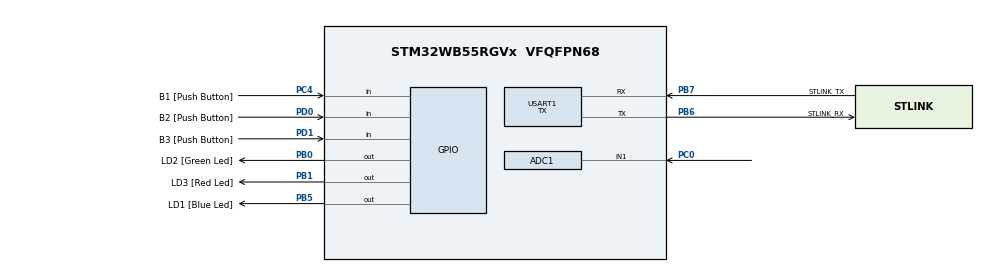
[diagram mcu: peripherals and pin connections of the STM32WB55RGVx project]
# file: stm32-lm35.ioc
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ADC1.Channel-0\#ChannelRegularConversion=ADC_CHANNEL_1
ADC1.Channel-1\#ChannelRegularConversion=ADC_CHANNEL_1
ADC1.Channel-2\#ChannelRegularConversion=ADC_CHANNEL_1
ADC1.Channel-3\#ChannelRegularConversion=ADC_CHANNEL_1
ADC1.Channel-4\#ChannelRegularConversion=ADC_CHANNEL_1
ADC1.Channel-5\#ChannelRegularConversion=ADC_CHANNEL_1
ADC1.Channel-6\#ChannelRegularConversion=ADC_CHANNEL_1
ADC1.Channel-7\#ChannelRegularConversion=ADC_CHANNEL_1
ADC1.Channel-8\#ChannelRegularConversion=ADC_CHANNEL_1
ADC1.Channel-9\#ChannelRegularConversion=ADC_CHANNEL_1
ADC1.ClockPrescaler=ADC_CLOCK_ASYNC_DIV8
ADC1.DMAContinuousRequests=ENABLE
ADC1.NbrOfConversion=10
ADC1.NbrOfConversionFlag=1
ADC1.OffsetNumber-0\#ChannelRegularConversion=ADC_OFFSET_NONE
ADC1.OffsetNumber-1\#ChannelRegularConversion=ADC_OFFSET_NONE
ADC1.OffsetNumber-2\#ChannelRegularConversion=ADC_OFFSET_NONE
ADC1.OffsetNumber-3\#ChannelRegularConversion=ADC_OFFSET_NONE
ADC1.OffsetNumber-4\#ChannelRegularConversion=ADC_OFFSET_NONE
ADC1.OffsetNumber-5\#ChannelRegularConversion=ADC_OFFSET_NONE
ADC1.OffsetNumber-6\#ChannelRegularConversion=ADC_OFFSET_NONE
ADC1.OffsetNumber-7\#ChannelRegularConversion=ADC_OFFSET_NONE
ADC1.OffsetNumber-8\#ChannelRegularConversion=ADC_OFFSET_NONE
ADC1.OffsetNumber-9\#ChannelRegularConversion=ADC_OFFSET_NONE
ADC1.Rank-0\#ChannelRegularConversion=1
ADC1.Rank-1\#ChannelRegularConversion=2
ADC1.Rank-2\#ChannelRegularConversion=3
ADC1.Rank-3\#ChannelRegularConversion=4
ADC1.Rank-4\#ChannelRegularConversion=5
ADC1.Rank-5\#ChannelRegularConversion=6
ADC1.Rank-6\#ChannelRegularConversion=7
ADC1.Rank-7\#ChannelRegularConversion=8
ADC1.Rank-8\#ChannelRegularConversion=9
ADC1.Rank-9\#ChannelRegularConversion=10
ADC1.SamplingTime-0\#ChannelRegularConversion=ADC_SAMPLETIME_640CYCLES_5
ADC1.SamplingTime-1\#ChannelRegularConversion=ADC_SAMPLETIME_640CYCLES_5
ADC1.SamplingTime-2\#ChannelRegularConversion=ADC_SAMPLETIME_640CYCLES_5
ADC1.SamplingTime-3\#ChannelRegularConversion=ADC_SAMPLETIME_640CYCLES_5
ADC1.SamplingTime-4\#ChannelRegularConversion=ADC_SAMPLETIME_640CYCLES_5
ADC1.SamplingTime-5\#ChannelRegularConversion=ADC_SAMPLETIME_640CYCLES_5
ADC1.SamplingTime-6\#ChannelRegularConversion=ADC_SAMPLETIME_640CYCLES_5
ADC1.SamplingTime-7\#ChannelRegularConversion=ADC_SAMPLETIME_640CYCLES_5
ADC1.SamplingTime-8\#ChannelRegularConversion=ADC_SAMPLETIME_640CYCLES_5
ADC1.SamplingTime-9\#ChannelRegularConversion=ADC_SAMPLETIME_640CYCLES_5
ADC1.master=1
Dma.ADC1.0.Direction=DMA_PERIPH_TO_MEMORY
Dma.ADC1.0.EventEnable=DISABLE
Dma.ADC1.0.Instance=DMA1_Channel1
Dma.ADC1.0.MemDataAlignment=DMA_MDATAALIGN_HALFWORD
Dma.ADC1.0.MemInc=DMA_MINC_ENABLE
Dma.ADC1.0.Mode=DMA_NORMAL
Dma.ADC1.0.PeriphDataAlignment=DMA_PDATAALIGN_HALFWORD
Dma.ADC1.0.PeriphInc=DMA_PINC_DISABLE
Dma.ADC1.0.Polarity=HAL_DMAMUX_REQ_GEN_RISING
Dma.ADC1.0.Priority=DMA_PRIORITY_LOW
Dma.ADC1.0.RequestNumber=1
Dma.ADC1.0.SignalID=NONE
Dma.ADC1.0.SyncEnable=DISABLE
Dma.ADC1.0.SyncPolarity=HAL_DMAMUX_SYNC_NO_EVENT
Dma.ADC1.0.SyncRequestNumber=1
Dma.ADC1.0.SyncSignalID=NONE
Dma.Request0=ADC1
Dma.Request1=USART1_TX
Dma.USART1_TX.1.Direction=DMA_MEMORY_TO_PERIPH
Dma.USART1_TX.1.EventEnable=DISABLE
Dma.USART1_TX.1.Instance=DMA1_Channel2
Dma.USART1_TX.1.MemDataAlignment=DMA_MDATAALIGN_BYTE
Dma.USART1_TX.1.MemInc=DMA_MINC_ENABLE
Dma.USART1_TX.1.Mode=DMA_NORMAL
Dma.USART1_TX.1.PeriphDataAlignment=DMA_PDATAALIGN_BYTE
Dma.USART1_TX.1.PeriphInc=DMA_PINC_DISABLE
Dma.USART1_TX.1.Polarity=HAL_DMAMUX_REQ_GEN_RISING
Dma.USART1_TX.1.Priority=DMA_PRIORITY_LOW
Dma.USART1_TX.1.RequestNumber=1
Dma.USART1_TX.1.SignalID=NONE
Dma.USART1_TX.1.SyncEnable=DISABLE
Dma.USART1_TX.1.SyncPolarity=HAL_DMAMUX_SYNC_NO_EVENT
Dma.USART1_TX.1.SyncRequestNumber=1
Dma.USART1_TX.1.SyncSignalID=NONE
FREERTOS.Queues01=tempQueue,16,float32_t,0,Static,tempQueueBuffer,tempQueueControlBlock
FREERTOS.Tasks01=defaultTask,24,128,StartDefaultTask,Default,NULL,Static,defaultTaskBuffer,defaultTaskControlBlock;printTempTask,8,256,StartPrintfTask,Default,NULL,Static,printTempTaskBuffer,printTempTaskControlBlock
Mcu.Family=STM32WB
Mcu.Name=STM32WB55RGVx
Mcu.Package=VFQFPN68
NVIC.DMA1_Channel1_IRQn=true\:5\:0\:false\:false\:true\:true\:false\:true
NVIC.DMA1_Channel2_IRQn=true\:5\:0\:false\:false\:true\:true\:false\:true
NVIC.PriorityGroup=NVIC_PRIORITYGROUP_4
NVIC.TIM1_UP_TIM16_IRQn=true\:0\:0\:false\:false\:true\:false\:false\:true
NVIC.TimeBase=TIM1_UP_TIM16_IRQn
NVIC.TimeBaseIP=TIM1
OSC_IN.Mode=HSE-External-Oscillator
OSC_IN.Signal=RCC_OSC_IN
OSC_OUT.Mode=HSE-External-Oscillator
OSC_OUT.Signal=RCC_OSC_OUT
PA11.Signal=USB_DM
PA12.Signal=USB_DP
PA13.GPIO_Label=JTMS
PA13.Signal=SYS_JTMS-SWDIO
PA14.GPIO_Label=JTCK
PA14.Signal=SYS_JTCK-SWCLK
PB0.GPIO_Label=LD2 [Green Led]
PB0.Signal=GPIO_Output
PB1.GPIO_Label=LD3 [Red Led]
PB1.Signal=GPIO_Output
PB3.GPIO_Label=JTDO
PB3.Signal=SYS_JTDO-SWO
PB5.GPIO_Label=LD1 [Blue Led]
PB5.Signal=GPIO_Output
PB6.GPIO_Label=STLINK_RX
PB6.Mode=Asynchronous
PB6.Signal=USART1_TX
PB7.GPIO_Label=STLINK_TX
PB7.Mode=Asynchronous
PB7.Signal=USART1_RX
PC0.Signal=ADCx_IN1
PC13.Signal=SYS_WKUP2
PC14-OSC32_IN.Signal=RCC_OSC32_IN
PC15-OSC32_OUT.Signal=RCC_OSC32_OUT
PC4.GPIO_Label=B1 [Push Button]
PC4.Signal=GPIO_Input
PD0.GPIO_Label=B2 [Push Button]
PD0.Signal=GPIO_Input
PD1.GPIO_Label=B3 [Push Button]
PD1.Signal=GPIO_Input
ProjectManager.HeapSize=0x400
ProjectManager.StackSize=0x1000
ProjectManager.TargetToolchain=Makefile
RCC.ADCFreq_Value=48000000
RCC.AHB2CLKDivider=RCC_SYSCLK_DIV2
RCC.AHBFreq_Value=32000000
RCC.APB1Freq_Value=32000000
RCC.APB1TimFreq_Value=32000000
RCC.APB2Freq_Value=32000000
RCC.APB2TimFreq_Value=32000000
RCC.APB3Freq_Value=16000000
RCC.CortexFreq_Value=32000000
RCC.HCLKFreq_Value=32000000
RCC.HSE_VALUE=32000000
RCC.HSI48_VALUE=48000000
RCC.HSI_VALUE=16000000
RCC.LSE_VALUE=32768
RCC.MSIClockRange=RCC_MSIRANGE_10
RCC.PLLM=RCC_PLLM_DIV2
RCC.PLLSAI1N=6
RCC.SMPSCLockSelectionVirtual=RCC_SMPSCLKSOURCE_HSI
RCC.SYSCLKFreq_VALUE=32000000
RCC.USBFreq_Value=48000000
RCC.VCOOutputFreq_Value=128000000
SH.ADCx_IN1.0=ADC1_IN1,IN1-Single-Ended
USART1.Mode=MODE_TX
USART1.VirtualMode-Asynchronous=VM_ASYNC
USART1.WordLength=WORDLENGTH_8B
VP_FREERTOS_VS_CMSIS_V2.Mode=CMSIS_V2
VP_SYS_VS_tim1.Mode=TIM1
board=P-NUCLEO-WB55-Nucleo

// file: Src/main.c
/* USER CODE BEGIN Header */
/**
  ******************************************************************************
  * @file           : main.c
  * @brief          : Main program body
  ******************************************************************************
  * @attention
  *
  * <h2><center>&copy; Copyright (c) 2019 STMicroelectronics.
  * All rights reserved.</center></h2>
  *
  * This software component is licensed by ST under BSD 3-Clause license,
  * the "License"; You may not use this file except in compliance with the
  * License. You may obtain a copy of the License at:
  *                        opensource.org/licenses/BSD-3-Clause
  *
  ******************************************************************************
  */
/* USER CODE END Header */

#include "main.h"
#include "cmsis_os.h"

/* USER CODE BEGIN Includes */
#include "arm_math.h"
/* USER CODE END Includes */

/* USER CODE BEGIN PD */
/* CAUTION!!! This circuit uses LM358 op amp in non inverting configuration
 * to scale the 0-1 V output of LM35 to about 3.3 V range
 */
#define OP_AMP_GAIN ((float32_t) 1)

/* Size of ADC buffer */
#define ADC_BUFFERSIZE ((uint32_t) 10)

#define ADC_COMPLETE_FLAG   ((uint32_t) 1)
/* USER CODE END PD */

/* USER CODE BEGIN PM */
/**
  * @brief  Macro to calculate the voltage (unit: mVolt)
  *         corresponding to a ADC conversion data (unit: digital value).
  * @note   ADC measurement data must correspond to a resolution of 12bits
  *         (full scale digital value 4095). If not the case, the data must be
  *         preliminarily rescaled to an equivalent resolution of 12 bits.
  * @note   Analog reference voltage (Vref+) must be known from
  *         user board environment.
  * @param  __VREFANALOG_VOLTAGE__ Analog reference voltage (unit: mV)
  * @param  __ADC_DATA__ ADC conversion data (resolution 12 bits)
  *                       (unit: digital value).
  * @retval ADC conversion data equivalent voltage value (unit: mVolt)
  */
#define __ADC_CALC_DATA_VOLTAGE(__VREFANALOG_VOLTAGE__, __ADC_DATA__)       \
   (__ADC_DATA__) * (__VREFANALOG_VOLTAGE__) / DIGITAL_SCALE_12BITS

/* Calculate temperature corresponding to ADC voltage in mV */
/* @retval Temperature in Degrees C*/
#define __LM35_CALC_TEMP(__VOLTAGE__) \
     (( __VOLTAGE__ ) / (10 * (OP_AMP_GAIN)))

/* USER CODE END PM */

ADC_HandleTypeDef hadc1;
DMA_HandleTypeDef hdma_adc1;

UART_HandleTypeDef huart1;
DMA_HandleTypeDef hdma_usart1_tx;

typedef StaticTask_t osStaticThreadDef_t;
typedef StaticQueue_t osStaticMessageQDef_t;
osThreadId_t defaultTaskHandle;
uint32_t defaultTaskBuffer[ 128 ];
osStaticThreadDef_t defaultTaskControlBlock;
osThreadId_t printTempTaskHandle;
uint32_t printTempTaskBuffer[ 256 ];
osStaticThreadDef_t printTempTaskControlBlock;
osMessageQueueId_t tempQueueHandle;
uint8_t tempQueueBuffer[ 16 * sizeof( float32_t ) ];
osStaticMessageQDef_t tempQueueControlBlock;
/* USER CODE BEGIN PV */
osEventFlagsId_t event_id;                      /* Event flags id */
/* Variables for ADC conversion data */
__IO uint16_t uhADCxConvertedData[ADC_BUFFERSIZE];

/* USER CODE END PV */

void SystemClock_Config(void);
static void MX_GPIO_Init(void);
static void MX_DMA_Init(void);
static void MX_ADC1_Init(void);
static void MX_USART1_UART_Init(void);
void StartDefaultTask(void *argument);
void StartPrintfTask(void *argument);

int main(void)
{

  /* MCU Configuration--------------------------------------------------------*/

  /* Reset of all peripherals, Initializes the Flash interface and the Systick. */
  HAL_Init();

  /* Configure the system clock */
  SystemClock_Config();

  /* Initialize all configured peripherals */
  MX_GPIO_Init();
  MX_DMA_Init();
  MX_ADC1_Init();
  MX_USART1_UART_Init();

  osKernelInitialize();

  /* Create the queue(s) */
  /* definition and creation of tempQueue */
  const osMessageQueueAttr_t tempQueue_attributes = {
    .name = "tempQueue",
    .cb_mem = &tempQueueControlBlock,
    .cb_size = sizeof(tempQueueControlBlock),
    .mq_mem = &tempQueueBuffer,
    .mq_size = sizeof(tempQueueBuffer)
  };
  tempQueueHandle = osMessageQueueNew (16, sizeof(float32_t), &tempQueue_attributes);

  /* Create the thread(s) */
  /* definition and creation of defaultTask */
  const osThreadAttr_t defaultTask_attributes = {
    .name = "defaultTask",
    .stack_mem = &defaultTaskBuffer[0],
    .stack_size = sizeof(defaultTaskBuffer),
    .cb_mem = &defaultTaskControlBlock,
    .cb_size = sizeof(defaultTaskControlBlock),
    .priority = (osPriority_t) osPriorityNormal,
  };
  defaultTaskHandle = osThreadNew(StartDefaultTask, NULL, &defaultTask_attributes);

  /* definition and creation of printTempTask */
  const osThreadAttr_t printTempTask_attributes = {
    .name = "printTempTask",
    .stack_mem = &printTempTaskBuffer[0],
    .stack_size = sizeof(printTempTaskBuffer),
    .cb_mem = &printTempTaskControlBlock,
    .cb_size = sizeof(printTempTaskControlBlock),
    .priority = (osPriority_t) osPriorityLow,
  };
  printTempTaskHandle = osThreadNew(StartPrintfTask, NULL, &printTempTask_attributes);

  /* USER CODE BEGIN RTOS_THREADS */
  /* Not a thread but placed here so Cube MX does not delete it */
  event_id = osEventFlagsNew(NULL);
  /* USER CODE END RTOS_THREADS */

  /* Start scheduler */
  osKernelStart();

  /* We should never get here as control is now taken by the scheduler */

  /* Infinite loop */
  while (1)
  {

  }
}

void SystemClock_Config(void)
{
  RCC_OscInitTypeDef RCC_OscInitStruct = {0};
  RCC_ClkInitTypeDef RCC_ClkInitStruct = {0};
  RCC_PeriphCLKInitTypeDef PeriphClkInitStruct = {0};

  /** Macro to configure the PLL multiplication factor
  */
  __HAL_RCC_PLL_PLLM_CONFIG(RCC_PLLM_DIV2);
  /** Macro to configure the PLL clock source
  */
  __HAL_RCC_PLL_PLLSOURCE_CONFIG(RCC_PLLSOURCE_MSI);
  /** Configure the main internal regulator output voltage
  */
  __HAL_PWR_VOLTAGESCALING_CONFIG(PWR_REGULATOR_VOLTAGE_SCALE1);
  /** Initializes the CPU, AHB and APB busses clocks
  */
  RCC_OscInitStruct.OscillatorType = RCC_OSCILLATORTYPE_HSI|RCC_OSCILLATORTYPE_HSE
                              |RCC_OSCILLATORTYPE_MSI;
  RCC_OscInitStruct.HSEState = RCC_HSE_ON;
  RCC_OscInitStruct.HSIState = RCC_HSI_ON;
  RCC_OscInitStruct.MSIState = RCC_MSI_ON;
  RCC_OscInitStruct.HSICalibrationValue = RCC_HSICALIBRATION_DEFAULT;
  RCC_OscInitStruct.MSICalibrationValue = RCC_MSICALIBRATION_DEFAULT;
  RCC_OscInitStruct.MSIClockRange = RCC_MSIRANGE_10;
  RCC_OscInitStruct.PLL.PLLState = RCC_PLL_NONE;
  if (HAL_RCC_OscConfig(&RCC_OscInitStruct) != HAL_OK)
  {
    Error_Handler();
  }
  /** Configure the SYSCLKSource, HCLK, PCLK1 and PCLK2 clocks dividers
  */
  RCC_ClkInitStruct.ClockType = RCC_CLOCKTYPE_HCLK4|RCC_CLOCKTYPE_HCLK2
                              |RCC_CLOCKTYPE_HCLK|RCC_CLOCKTYPE_SYSCLK
                              |RCC_CLOCKTYPE_PCLK1|RCC_CLOCKTYPE_PCLK2;
  RCC_ClkInitStruct.SYSCLKSource = RCC_SYSCLKSOURCE_MSI;
  RCC_ClkInitStruct.AHBCLKDivider = RCC_SYSCLK_DIV1;
  RCC_ClkInitStruct.APB1CLKDivider = RCC_HCLK_DIV1;
  RCC_ClkInitStruct.APB2CLKDivider = RCC_HCLK_DIV1;
  RCC_ClkInitStruct.AHBCLK2Divider = RCC_SYSCLK_DIV2;
  RCC_ClkInitStruct.AHBCLK4Divider = RCC_SYSCLK_DIV1;

  if (HAL_RCC_ClockConfig(&RCC_ClkInitStruct, FLASH_LATENCY_1) != HAL_OK)
  {
    Error_Handler();
  }
  /** Initializes the peripherals clocks
  */
  PeriphClkInitStruct.PeriphClockSelection = RCC_PERIPHCLK_SMPS|RCC_PERIPHCLK_USART1
                              |RCC_PERIPHCLK_ADC;
  PeriphClkInitStruct.PLLSAI1.PLLN = 6;
  PeriphClkInitStruct.PLLSAI1.PLLP = RCC_PLLP_DIV2;
  PeriphClkInitStruct.PLLSAI1.PLLQ = RCC_PLLQ_DIV2;
  PeriphClkInitStruct.PLLSAI1.PLLR = RCC_PLLR_DIV2;
  PeriphClkInitStruct.PLLSAI1.PLLSAI1ClockOut = RCC_PLLSAI1_ADCCLK;
  PeriphClkInitStruct.Usart1ClockSelection = RCC_USART1CLKSOURCE_PCLK2;
  PeriphClkInitStruct.AdcClockSelection = RCC_ADCCLKSOURCE_PLLSAI1;
  PeriphClkInitStruct.SmpsClockSelection = RCC_SMPSCLKSOURCE_HSI;
  PeriphClkInitStruct.SmpsDivSelection = RCC_SMPSCLKDIV_RANGE1;

  if (HAL_RCCEx_PeriphCLKConfig(&PeriphClkInitStruct) != HAL_OK)
  {
    Error_Handler();
  }
}

static void MX_ADC1_Init(void)
{

  ADC_ChannelConfTypeDef sConfig = {0};

  /** Common config
  */
  hadc1.Instance = ADC1;
  hadc1.Init.ClockPrescaler = ADC_CLOCK_ASYNC_DIV8;
  hadc1.Init.Resolution = ADC_RESOLUTION_12B;
  hadc1.Init.DataAlign = ADC_DATAALIGN_RIGHT;
  hadc1.Init.ScanConvMode = ADC_SCAN_ENABLE;
  hadc1.Init.EOCSelection = ADC_EOC_SINGLE_CONV;
  hadc1.Init.LowPowerAutoWait = DISABLE;
  hadc1.Init.ContinuousConvMode = DISABLE;
  hadc1.Init.NbrOfConversion = 10;
  hadc1.Init.DiscontinuousConvMode = DISABLE;
  hadc1.Init.ExternalTrigConv = ADC_SOFTWARE_START;
  hadc1.Init.ExternalTrigConvEdge = ADC_EXTERNALTRIGCONVEDGE_NONE;
  hadc1.Init.DMAContinuousRequests = ENABLE;
  hadc1.Init.Overrun = ADC_OVR_DATA_PRESERVED;
  hadc1.Init.OversamplingMode = DISABLE;
  if (HAL_ADC_Init(&hadc1) != HAL_OK)
  {
    Error_Handler();
  }
  /** Configure Regular Channel
  */
  sConfig.Channel = ADC_CHANNEL_1;
  sConfig.Rank = ADC_REGULAR_RANK_1;
  sConfig.SamplingTime = ADC_SAMPLETIME_640CYCLES_5;
  sConfig.SingleDiff = ADC_SINGLE_ENDED;
  sConfig.OffsetNumber = ADC_OFFSET_NONE;
  sConfig.Offset = 0;
  if (HAL_ADC_ConfigChannel(&hadc1, &sConfig) != HAL_OK)
  {
    Error_Handler();
  }
  /** Configure Regular Channel
  */
  sConfig.Rank = ADC_REGULAR_RANK_2;
  if (HAL_ADC_ConfigChannel(&hadc1, &sConfig) != HAL_OK)
  {
    Error_Handler();
  }
  /** Configure Regular Channel
  */
  sConfig.Rank = ADC_REGULAR_RANK_3;
  if (HAL_ADC_ConfigChannel(&hadc1, &sConfig) != HAL_OK)
  {
    Error_Handler();
  }
  /** Configure Regular Channel
  */
  sConfig.Rank = ADC_REGULAR_RANK_4;
  if (HAL_ADC_ConfigChannel(&hadc1, &sConfig) != HAL_OK)
  {
    Error_Handler();
  }
  /** Configure Regular Channel
  */
  sConfig.Rank = ADC_REGULAR_RANK_5;
  if (HAL_ADC_ConfigChannel(&hadc1, &sConfig) != HAL_OK)
  {
    Error_Handler();
  }
  /** Configure Regular Channel
  */
  sConfig.Rank = ADC_REGULAR_RANK_6;
  if (HAL_ADC_ConfigChannel(&hadc1, &sConfig) != HAL_OK)
  {
    Error_Handler();
  }
  /** Configure Regular Channel
  */
  sConfig.Rank = ADC_REGULAR_RANK_7;
  if (HAL_ADC_ConfigChannel(&hadc1, &sConfig) != HAL_OK)
  {
    Error_Handler();
  }
  /** Configure Regular Channel
  */
  sConfig.Rank = ADC_REGULAR_RANK_8;
  if (HAL_ADC_ConfigChannel(&hadc1, &sConfig) != HAL_OK)
  {
    Error_Handler();
  }
  /** Configure Regular Channel
  */
  sConfig.Rank = ADC_REGULAR_RANK_9;
  if (HAL_ADC_ConfigChannel(&hadc1, &sConfig) != HAL_OK)
  {
    Error_Handler();
  }
  /** Configure Regular Channel
  */
  sConfig.Rank = ADC_REGULAR_RANK_10;
  if (HAL_ADC_ConfigChannel(&hadc1, &sConfig) != HAL_OK)
  {
    Error_Handler();
  }
  /* USER CODE BEGIN ADC1_Init 2 */
  /* Run the ADC calibration in single-ended mode */
  if (HAL_ADCEx_Calibration_Start(&hadc1, ADC_SINGLE_ENDED) != HAL_OK)
  {
    /* Calibration Error */
    Error_Handler();
  }
  /* USER CODE END ADC1_Init 2 */

}

static void MX_USART1_UART_Init(void)
{

  huart1.Instance = USART1;
  huart1.Init.BaudRate = 115200;
  huart1.Init.WordLength = UART_WORDLENGTH_8B;
  huart1.Init.StopBits = UART_STOPBITS_1;
  huart1.Init.Parity = UART_PARITY_NONE;
  huart1.Init.Mode = UART_MODE_TX;
  huart1.Init.HwFlowCtl = UART_HWCONTROL_NONE;
  huart1.Init.OverSampling = UART_OVERSAMPLING_16;
  huart1.Init.OneBitSampling = UART_ONE_BIT_SAMPLE_DISABLE;
  huart1.Init.ClockPrescaler = UART_PRESCALER_DIV1;
  huart1.AdvancedInit.AdvFeatureInit = UART_ADVFEATURE_NO_INIT;
  if (HAL_UART_Init(&huart1) != HAL_OK)
  {
    Error_Handler();
  }
  if (HAL_UARTEx_SetTxFifoThreshold(&huart1, UART_TXFIFO_THRESHOLD_1_8) != HAL_OK)
  {
    Error_Handler();
  }
  if (HAL_UARTEx_SetRxFifoThreshold(&huart1, UART_RXFIFO_THRESHOLD_1_8) != HAL_OK)
  {
    Error_Handler();
  }
  if (HAL_UARTEx_DisableFifoMode(&huart1) != HAL_OK)
  {
    Error_Handler();
  }

}

static void MX_DMA_Init(void)
{

  /* DMA controller clock enable */
  __HAL_RCC_DMAMUX1_CLK_ENABLE();
  __HAL_RCC_DMA1_CLK_ENABLE();

  /* DMA interrupt init */
  /* DMA1_Channel1_IRQn interrupt configuration */
  HAL_NVIC_SetPriority(DMA1_Channel1_IRQn, 5, 0);
  HAL_NVIC_EnableIRQ(DMA1_Channel1_IRQn);
  /* DMA1_Channel2_IRQn interrupt configuration */
  HAL_NVIC_SetPriority(DMA1_Channel2_IRQn, 5, 0);
  HAL_NVIC_EnableIRQ(DMA1_Channel2_IRQn);

}

static void MX_GPIO_Init(void)
{
  GPIO_InitTypeDef GPIO_InitStruct = {0};

  /* GPIO Ports Clock Enable */
  __HAL_RCC_GPIOC_CLK_ENABLE();
  __HAL_RCC_GPIOB_CLK_ENABLE();
  __HAL_RCC_GPIOA_CLK_ENABLE();
  __HAL_RCC_GPIOD_CLK_ENABLE();

  /*Configure GPIO pin Output Level */
  HAL_GPIO_WritePin(GPIOB, LD2_Pin|LD3_Pin|LD1_Pin, GPIO_PIN_RESET);

  /*Configure GPIO pin : B1_Pin */
  GPIO_InitStruct.Pin = B1_Pin;
  GPIO_InitStruct.Mode = GPIO_MODE_INPUT;
  GPIO_InitStruct.Pull = GPIO_NOPULL;
  HAL_GPIO_Init(B1_GPIO_Port, &GPIO_InitStruct);

  /*Configure GPIO pins : LD2_Pin LD3_Pin LD1_Pin */
  GPIO_InitStruct.Pin = LD2_Pin|LD3_Pin|LD1_Pin;
  GPIO_InitStruct.Mode = GPIO_MODE_OUTPUT_PP;
  GPIO_InitStruct.Pull = GPIO_NOPULL;
  GPIO_InitStruct.Speed = GPIO_SPEED_FREQ_LOW;
  HAL_GPIO_Init(GPIOB, &GPIO_InitStruct);

  /*Configure GPIO pins : PA11 PA12 */
  GPIO_InitStruct.Pin = GPIO_PIN_11|GPIO_PIN_12;
  GPIO_InitStruct.Mode = GPIO_MODE_AF_PP;
  GPIO_InitStruct.Pull = GPIO_NOPULL;
  GPIO_InitStruct.Speed = GPIO_SPEED_FREQ_LOW;
  GPIO_InitStruct.Alternate = GPIO_AF10_USB;
  HAL_GPIO_Init(GPIOA, &GPIO_InitStruct);

  /*Configure GPIO pins : B2_Pin B3_Pin */
  GPIO_InitStruct.Pin = B2_Pin|B3_Pin;
  GPIO_InitStruct.Mode = GPIO_MODE_INPUT;
  GPIO_InitStruct.Pull = GPIO_NOPULL;
  HAL_GPIO_Init(GPIOD, &GPIO_InitStruct);

}

/* USER CODE BEGIN 4 */

/*
 * ===  FUNCTION  ======================================================================
 *         Name:  HAL_UART_TxCpltCallback
 *  Description:  Toggle Led 1 on complete UART DMA Tx
 * =====================================================================================
 */
void HAL_UART_TxCpltCallback ( UART_HandleTypeDef *huart)
{
    HAL_GPIO_TogglePin(LD1_GPIO_Port, LD1_Pin);
}		/* -----  end of function HAL_UART_TxCpltCallback  ----- */

/*
 * ===  FUNCTION  ======================================================================
 *         Name:  HAL_ADC_ConvCpltCallback
 *  Description:  Conversion complete callback in non blocking mode
 * =====================================================================================
 */
void HAL_ADC_ConvCpltCallback ( ADC_HandleTypeDef *hadc)
{
    /* Toggle LED2 to indicate completion (buffer full) */
    HAL_GPIO_TogglePin(LD2_GPIO_Port, LD2_Pin);

    /* Set event flag to indicate ADC completion */
    osEventFlagsSet(event_id, ADC_COMPLETE_FLAG);
}		/* -----  end of function HAL_ADC_ConvCpltCallback  ----- */

/**
  * @brief  ADC error callback in non blocking mode
  *        (ADC conversion with interruption or transfer by DMA)
  * @param  hadc: ADC handle
  * @retval None
  */
void HAL_ADC_ErrorCallback(ADC_HandleTypeDef *hadc)
{
  /* In case of ADC error, call main error handler */
  Error_Handler();
}
/* USER CODE END 4 */

void StartDefaultTask(void *argument)
{

  /* USER CODE BEGIN 5 */

  /* Variables for ADC conversion data computation to physical values */
  float32_t temperature  = 0.0;  /* Value of temperature calculated from ADC voltage (unit: mC) */
  float32_t mean;
  /* Infinite loop */
  for(;;)
  {
    /* Turn Led 2 off before performing a new ADC conversion start */
    HAL_GPIO_TogglePin(LD2_GPIO_Port, LD2_Pin);

    /*## Start ADC conversions ###############################################*/
    /* Clear ADC conversion flag */
    osEventFlagsClear(event_id, ADC_COMPLETE_FLAG);

    /* Start ADC conversion with DMA */
    if ( HAL_ADC_Start_DMA(&hadc1, (uint32_t *) uhADCxConvertedData, ADC_BUFFERSIZE) != HAL_OK)
    {
        /* ADC conversion start error */
        Error_Handler();
    }

    /* Wait till conversion is done */
    osEventFlagsWait(event_id, ADC_COMPLETE_FLAG, osFlagsWaitAny, osWaitForever);

    /*## Stop ADC conversions ################################################*/
    /* Stop ADC conversion with DMA */
    if ( HAL_ADC_Stop_DMA(&hadc1) != HAL_OK)
    {
        /* ADC conversion stop error */
        Error_Handler();
    }

    /*## Compute temperature #################################################*/
    /* Computation of mean of ADC conversions raw data */
    mean = 0.0;                                 /* Reset mean to 0 */
    for (int i=0; i<ADC_BUFFERSIZE; i++) {
        mean += uhADCxConvertedData[i] / ADC_BUFFERSIZE;
    }

    /* Computation of temperature using helper macros */
    temperature = __LM35_CALC_TEMP( \
                  __ADC_CALC_DATA_VOLTAGE(VDDA_APPLI, mean));

    /*## Print temperature ###################################################*/
    //printf("LM35 Temperature is %.2f \n\r", temperature);
    osMessageQueuePut(tempQueueHandle, &temperature, 1U, osWaitForever);

    /*## Delay ###############################################################*/
    osDelay(750);
  }
  /* USER CODE END 5 */
}

void StartPrintfTask(void *argument)
{
  /* USER CODE BEGIN StartPrintfTask */
  float32_t temp;
  /* Infinite loop */
  for(;;)
  {
    osMessageQueueGet(tempQueueHandle, &temp, NULL, osWaitForever);
    osDelay(10);
  }
  /* USER CODE END StartPrintfTask */
}

void HAL_TIM_PeriodElapsedCallback(TIM_HandleTypeDef *htim)
{
  if (htim->Instance == TIM1) {
    HAL_IncTick();
  }
}

void Error_Handler(void)
{
  /* USER CODE BEGIN Error_Handler_Debug */
  /* User can add his own implementation to report the HAL error return state */

  while (1) {
      /* Loop foreva */
      HAL_GPIO_TogglePin(LD3_GPIO_Port, LD3_Pin);
      osDelay(200);
      HAL_GPIO_TogglePin(LD2_GPIO_Port, LD2_Pin);
      osDelay(200);
      HAL_GPIO_TogglePin(LD1_GPIO_Port, LD1_Pin);
      osDelay(200);
  }

  /* USER CODE END Error_Handler_Debug */
}

/************************ (C) COPYRIGHT STMicroelectronics *****END OF FILE****/
